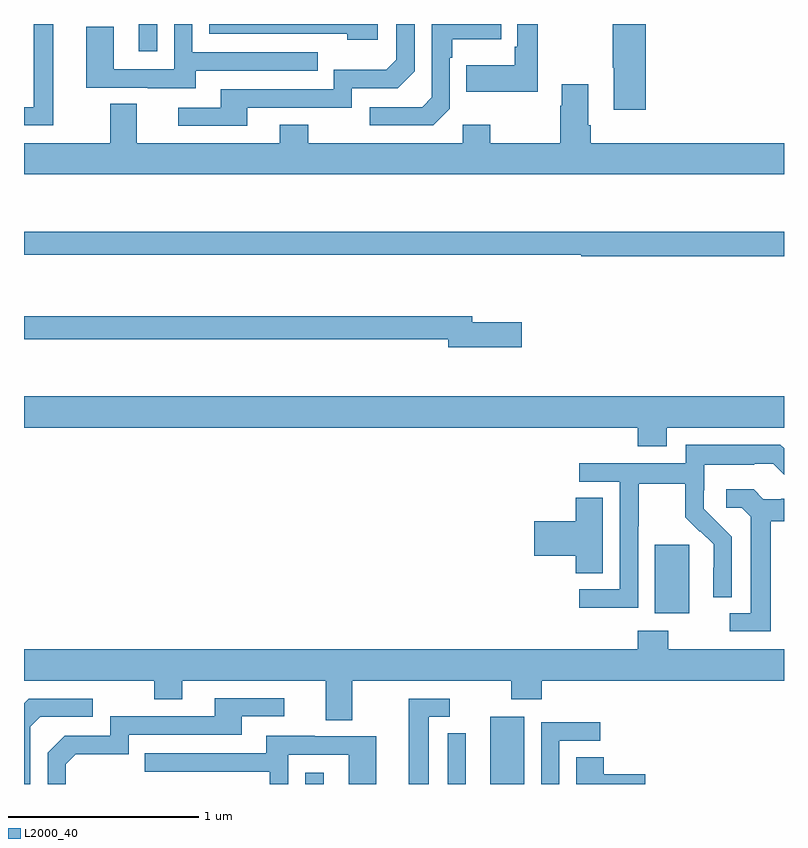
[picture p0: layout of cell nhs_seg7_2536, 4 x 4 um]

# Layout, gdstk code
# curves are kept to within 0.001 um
import gdstk
lib = gdstk.Library(unit=1e-6, precision=1e-09)
def R(c, l, rs):  # rectangles x0, y0, x1, y1
    for r in rs: c.add(gdstk.rectangle(r[:2], r[2:], *l))
def P(c, l, *ps):  # polygons
    for p in ps: c.add(gdstk.Polygon(p, *l))
L2000_40 = (2000, 40)

nhs_seg7_2536 = lib.new_cell('nhs_seg7_2536')
R(nhs_seg7_2536, L2000_40, [(276.48,1072,276.577,1072.06), (277.454,1072,277.633,1072.354), (278.321,1072.898,278.5,1073.259), (275.603,1075.857,275.7,1076)])
P(nhs_seg7_2536, L2000_40, [(277.705,1076),(277.596,1076),(277.596,1075.879),(277.584,1075.879),(277.584,1075.783),(277.327,1075.783),(277.327,1075.643),(277.705,1075.643)],
  [(276.175,1075.56),(276.726,1075.56),(276.726,1075.662),(276.966,1075.662),(277.056,1075.752),(277.056,1076),(276.96,1076),(276.96,1075.812),(276.907,1075.759),(276.63,1075.759),(276.63,1075.656),(276.035,1075.656),(276.035,1075.56),(275.811,1075.56),(275.811,1075.464),(276.175,1075.464)],
  [(275.155,1076),(275.051,1076),(275.051,1075.563),(275,1075.563),(275,1075.467),(275.155,1075.467)],
  [(276.862,1076),(275.976,1076),(275.976,1075.95),(276.701,1075.95),(276.701,1075.916),(276.862,1075.916)],
  [(278.273,1076),(278.098,1076),(278.098,1075.771),(278.105,1075.771),(278.105,1075.548),(278.273,1075.548)],
  [(277.242,1075.554),(277.242,1075.823),(277.255,1075.823),(277.255,1075.919),(277.511,1075.919),(277.511,1076),(277.146,1076),(277.146,1075.614),(277.095,1075.563),(276.819,1075.563),(276.819,1075.467),(277.155,1075.467)],
  [(275.905,1075.755),(276.545,1075.755),(276.545,1075.851),(275.886,1075.851),(275.886,1076),(275.79,1076),(275.79,1075.761),(275.472,1075.761),(275.472,1075.985),(275.327,1075.985),(275.327,1075.665),(275.651,1075.665),(275.651,1075.661),(275.905,1075.661)],
  [(279,1075.372),(277.982,1075.372),(277.982,1075.468),(277.969,1075.468),(277.969,1075.684),(277.829,1075.684),(277.829,1075.571),(277.822,1075.571),(277.822,1075.372),(277.455,1075.372),(277.455,1075.471),(277.308,1075.471),(277.308,1075.372),(276.495,1075.372),(276.495,1075.471),(276.347,1075.471),(276.347,1075.372),(275.593,1075.372),(275.593,1075.58),(275.453,1075.58),(275.453,1075.372),(275,1075.372),(275,1075.208),(279,1075.208)],
  [(279,1074.907),(275,1074.907),(275,1074.786),(277.934,1074.786),(277.934,1074.778),(279,1074.778)],
  [(277.621,1074.429),(277.36,1074.429),(277.36,1074.463),(275,1074.463),(275,1074.342),(277.232,1074.342),(277.232,1074.299),(277.621,1074.299)],
  [(278.383,1073.876),(279,1073.876),(279,1074.04),(275,1074.04),(275,1073.876),(278.231,1073.876),(278.231,1073.777),(278.383,1073.777)],
  [(278.232,1073.356),(278.235,1073.356),(278.235,1073.58),(278.479,1073.58),(278.479,1073.405),(278.556,1073.328),(278.559,1073.331),(278.63,1073.261),(278.63,1073.138),(278.628,1073.138),(278.628,1072.984),(278.724,1072.984),(278.724,1073.302),(278.578,1073.45),(278.578,1073.547),(278.58,1073.547),(278.58,1073.681),(278.843,1073.681),(278.843,1073.685),(278.943,1073.685),(279,1073.628),(279,1073.766),(278.981,1073.785),(278.484,1073.785),(278.484,1073.688),(277.923,1073.688),(277.923,1073.592),(278.136,1073.592),(278.136,1073.025),(277.923,1073.025),(277.923,1072.927),(278.232,1072.927)],
  [(278.929,1073.384),(279,1073.384),(279,1073.502),(278.986,1073.502),(278.986,1073.499),(278.892,1073.499),(278.84,1073.551),(278.697,1073.551),(278.697,1073.454),(278.778,1073.454),(278.825,1073.407),(278.825,1072.899),(278.715,1072.899),(278.715,1072.803),(278.929,1072.803)],
  [(278.047,1073.507),(277.904,1073.507),(277.904,1073.384),(277.686,1073.384),(277.686,1073.201),(277.904,1073.201),(277.904,1073.11),(278.047,1073.11)],
  [(276.727,1072.544),(277.564,1072.544),(277.564,1072.445),(277.724,1072.445),(277.724,1072.544),(279,1072.544),(279,1072.708),(278.391,1072.708),(278.391,1072.807),(278.231,1072.807),(278.231,1072.708),(275,1072.708),(275,1072.544),(275.686,1072.544),(275.686,1072.445),(275.833,1072.445),(275.833,1072.544),(276.587,1072.544),(276.587,1072.336),(276.727,1072.336)],
  [(275.22,1072.104),(275.273,1072.157),(275.55,1072.157),(275.55,1072.26),(276.145,1072.26),(276.145,1072.356),(276.37,1072.356),(276.37,1072.452),(276.005,1072.452),(276.005,1072.356),(275.454,1072.356),(275.454,1072.254),(275.214,1072.254),(275.124,1072.164),(275.124,1072),(275.22,1072)],
  [(275.034,1072.302),(275.085,1072.353),(275.362,1072.353),(275.362,1072.449),(275.025,1072.449),(275,1072.424),(275,1072),(275.034,1072)],
  [(277.129,1072.353),(277.24,1072.353),(277.24,1072.449),(277.025,1072.449),(277.025,1072),(277.129,1072)],
  [(277.818,1072.227),(278.032,1072.227),(278.032,1072.326),(277.722,1072.326),(277.722,1072),(277.818,1072)],
  [(277.325,1072.114),(277.326,1072.114),(277.326,1072.268),(277.23,1072.268),(277.23,1072),(277.325,1072)],
  [(276.39,1072.155),(276.708,1072.155),(276.708,1072),(276.853,1072),(276.853,1072.251),(276.529,1072.251),(276.529,1072.255),(276.275,1072.255),(276.275,1072.161),(275.635,1072.161),(275.635,1072.065),(276.294,1072.065),(276.294,1072),(276.39,1072)],
  [(278.269,1072.052),(278.051,1072.052),(278.051,1072.142),(277.907,1072.142),(277.907,1072),(278.269,1072)])

lib.write_gds('nhs_seg7_2536.gds')
